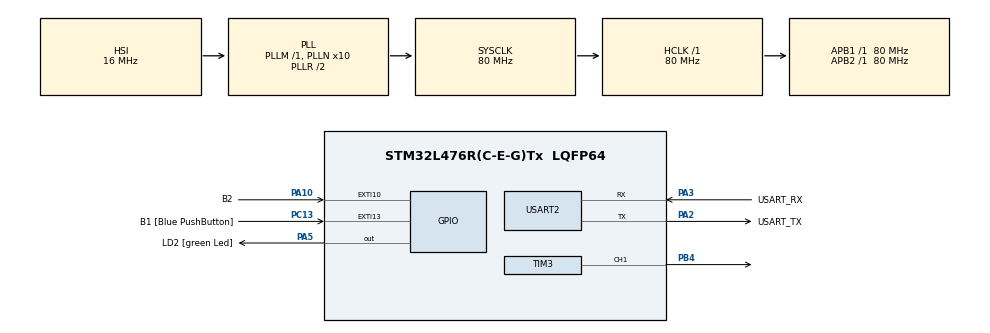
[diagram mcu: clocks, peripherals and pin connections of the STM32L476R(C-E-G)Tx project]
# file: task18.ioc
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Mcu.Family=STM32L4
Mcu.Name=STM32L476R(C-E-G)Tx
Mcu.Package=LQFP64
NVIC.EXTI15_10_IRQn=true\:0\:0\:false\:false\:true\:true\:true\:true
NVIC.PriorityGroup=NVIC_PRIORITYGROUP_4
NVIC.TIM3_IRQn=true\:0\:0\:false\:false\:true\:true\:true\:true
NVIC.TIM6_DAC_IRQn=true\:0\:0\:false\:false\:true\:true\:true\:true
PA10.GPIO_Label=B2
PA10.Signal=GPXTI10
PA13\ (JTMS-SWDIO).GPIO_Label=TMS
PA13\ (JTMS-SWDIO).Mode=Serial_Wire
PA13\ (JTMS-SWDIO).Signal=SYS_JTMS-SWDIO
PA14\ (JTCK-SWCLK).GPIO_Label=TCK
PA14\ (JTCK-SWCLK).Mode=Serial_Wire
PA14\ (JTCK-SWCLK).Signal=SYS_JTCK-SWCLK
PA2.GPIO_Label=USART_TX
PA2.GPIO_Mode=GPIO_MODE_AF_PP
PA2.GPIO_PuPd=GPIO_NOPULL
PA2.GPIO_Speed=GPIO_SPEED_FREQ_VERY_HIGH
PA2.Mode=Asynchronous
PA2.Signal=USART2_TX
PA3.GPIO_Label=USART_RX
PA3.GPIO_Mode=GPIO_MODE_AF_PP
PA3.GPIO_PuPd=GPIO_NOPULL
PA3.GPIO_Speed=GPIO_SPEED_FREQ_VERY_HIGH
PA3.Mode=Asynchronous
PA3.Signal=USART2_RX
PA5.GPIO_Label=LD2 [green Led]
PA5.GPIO_ModeDefaultOutputPP=GPIO_MODE_OUTPUT_PP
PA5.GPIO_PuPd=GPIO_NOPULL
PA5.GPIO_Speed=GPIO_SPEED_FREQ_LOW
PA5.Signal=GPIO_Output
PB3\ (JTDO-TRACESWO).GPIO_Label=SWO
PB3\ (JTDO-TRACESWO).Signal=SYS_JTDO-SWO
PB4\ (NJTRST).Signal=S_TIM3_CH1
PC13.GPIO_Label=B1 [Blue PushButton]
PC13.GPIO_ModeDefaultEXTI=GPIO_MODE_IT_FALLING
PC13.GPIO_PuPd=GPIO_NOPULL
PC13.Signal=GPXTI13
PC14-OSC32_IN\ (PC14).Mode=LSE-External-Oscillator
PC14-OSC32_IN\ (PC14).Signal=RCC_OSC32_IN
PC15-OSC32_OUT\ (PC15).Mode=LSE-External-Oscillator
PC15-OSC32_OUT\ (PC15).Signal=RCC_OSC32_OUT
PH0-OSC_IN\ (PH0).Signal=RCC_OSC_IN
PH1-OSC_OUT\ (PH1).Signal=RCC_OSC_OUT
ProjectManager.HeapSize=0x200
ProjectManager.StackSize=0x400
ProjectManager.TargetToolchain=STM32CubeIDE
RCC.ADCFreq_Value=64000000
RCC.AHBFreq_Value=80000000
RCC.APB1Freq_Value=80000000
RCC.APB1TimFreq_Value=80000000
RCC.APB2Freq_Value=80000000
RCC.APB2TimFreq_Value=80000000
RCC.CortexFreq_Value=80000000
RCC.HCLKFreq_Value=80000000
RCC.HSE_VALUE=8000000
RCC.HSI_VALUE=16000000
RCC.MSI_VALUE=4000000
RCC.PLLN=10
RCC.PLLSourceVirtual=RCC_PLLSOURCE_HSI
RCC.PREFETCH_ENABLE=1
RCC.SYSCLKFreq_VALUE=80000000
RCC.SYSCLKSource=RCC_SYSCLKSOURCE_PLLCLK
RCC.USBFreq_Value=64000000
RCC.VCOOutputFreq_Value=160000000
SH.S_TIM3_CH1.0=TIM3_CH1,PWM Generation1 CH1
TIM3.Channel-PWM\ Generation1\ CH1=TIM_CHANNEL_1
TIM3.Period=100
TIM3.Prescaler=800
TIM3.Pulse-PWM\ Generation1\ CH1=50
TIM6.Period=4999
TIM6.Prescaler=7999
USART2.VirtualMode-Asynchronous=VM_ASYNC
VP_TIM6_VS_ClockSourceINT.Mode=Enable_Timer
board=NUCLEO-L476RG

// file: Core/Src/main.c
/* USER CODE BEGIN Header */
/**
  ******************************************************************************
  * @file           : main.c
  * @brief          : Main program body
  ******************************************************************************
  * @attention
  *
  * Copyright (c) 2022 STMicroelectronics.
  * All rights reserved.
  *
  * This software is licensed under terms that can be found in the LICENSE file
  * in the root directory of this software component.
  * If no LICENSE file comes with this software, it is provided AS-IS.
  *
  ******************************************************************************
  */
/* USER CODE END Header */
#include "main.h"

/* USER CODE BEGIN Includes */
#include "button.h"
/* USER CODE END Includes */

 TIM_HandleTypeDef htim3;
TIM_HandleTypeDef htim6;

UART_HandleTypeDef huart2;

void SystemClock_Config(void);
static void MX_GPIO_Init(void);
static void MX_USART2_UART_Init(void);
static void MX_TIM3_Init(void);
static void MX_TIM6_Init(void);

/* USER CODE BEGIN 0 */
BUZZER bzr;
int freqArr[] = { 262, 277, 294, 311, 330, 349, 370, 392, 415, 440, 466, 494};
//2499 = 0.5 sec 4999=0.25sec
int ton[] = { 2499, 4999, 2499, 2499, 2499, 4999, 2499, 4999, 2499, 4999, 4999, 2499};

void HAL_GPIO_EXTI_Callback(uint16_t GPIO_Pin){
	static int flag = 1;
	if(flag == 1){
		//buzzerOn(&bzr);
		//uint8_t tmp;
		//tmp = GetTav(262);
		//buzzerOnFreq(&bzr,/*GetTav(262)*/390);
		flag =0;
		HAL_TIM_Base_Start_IT(&htim6);
		buzzerOn(&bzr);
	}
	else{
		HAL_TIM_Base_Stop_IT(&htim6);
		buzzerOff(&bzr);
		flag = 1;
	}

}

//start
void HAL_TIM_PeriodElapsedCallback(TIM_HandleTypeDef *htim){
	static int i = 0;
	if(htim == &htim6){
		buzzerOnFreq(&bzr,GetTav(freqArr[i]));
		__HAL_TIM_SET_AUTORELOAD(&htim6,ton[i]);
		i++;
		if(i>=12){
			i=0;			}
	}

}
//end cicale
void HAL_TIM_PWM_PulseFinishedCallback(TIM_HandleTypeDef *htim){

}
/* USER CODE END 0 */

int main(void)
{

  /* MCU Configuration--------------------------------------------------------*/

  /* Reset of all peripherals, Initializes the Flash interface and the Systick. */
  HAL_Init();

  /* Configure the system clock */
  SystemClock_Config();

  /* Initialize all configured peripherals */
  MX_GPIO_Init();
  MX_USART2_UART_Init();
  MX_TIM3_Init();
  MX_TIM6_Init();
  /* USER CODE BEGIN 2 */
  buzzerInit(&bzr);
  //HAL_NVIC_EnableIRQ(TIM3_IRQn);
  //HAL_TIM_Base_Init(&htim3);
  //HAL_TIM_Base_Start_IT(&htim3);

  /* USER CODE END 2 */

  /* Infinite loop */
  while (1)
  {

  }
}

void SystemClock_Config(void)
{
  RCC_OscInitTypeDef RCC_OscInitStruct = {0};
  RCC_ClkInitTypeDef RCC_ClkInitStruct = {0};

  /** Configure the main internal regulator output voltage
  */
  if (HAL_PWREx_ControlVoltageScaling(PWR_REGULATOR_VOLTAGE_SCALE1) != HAL_OK)
  {
    Error_Handler();
  }

  /** Initializes the RCC Oscillators according to the specified parameters
  * in the RCC_OscInitTypeDef structure.
  */
  RCC_OscInitStruct.OscillatorType = RCC_OSCILLATORTYPE_HSI;
  RCC_OscInitStruct.HSIState = RCC_HSI_ON;
  RCC_OscInitStruct.HSICalibrationValue = RCC_HSICALIBRATION_DEFAULT;
  RCC_OscInitStruct.PLL.PLLState = RCC_PLL_ON;
  RCC_OscInitStruct.PLL.PLLSource = RCC_PLLSOURCE_HSI;
  RCC_OscInitStruct.PLL.PLLM = 1;
  RCC_OscInitStruct.PLL.PLLN = 10;
  RCC_OscInitStruct.PLL.PLLP = RCC_PLLP_DIV7;
  RCC_OscInitStruct.PLL.PLLQ = RCC_PLLQ_DIV2;
  RCC_OscInitStruct.PLL.PLLR = RCC_PLLR_DIV2;
  if (HAL_RCC_OscConfig(&RCC_OscInitStruct) != HAL_OK)
  {
    Error_Handler();
  }

  /** Initializes the CPU, AHB and APB buses clocks
  */
  RCC_ClkInitStruct.ClockType = RCC_CLOCKTYPE_HCLK|RCC_CLOCKTYPE_SYSCLK
                              |RCC_CLOCKTYPE_PCLK1|RCC_CLOCKTYPE_PCLK2;
  RCC_ClkInitStruct.SYSCLKSource = RCC_SYSCLKSOURCE_PLLCLK;
  RCC_ClkInitStruct.AHBCLKDivider = RCC_SYSCLK_DIV1;
  RCC_ClkInitStruct.APB1CLKDivider = RCC_HCLK_DIV1;
  RCC_ClkInitStruct.APB2CLKDivider = RCC_HCLK_DIV1;

  if (HAL_RCC_ClockConfig(&RCC_ClkInitStruct, FLASH_LATENCY_4) != HAL_OK)
  {
    Error_Handler();
  }
}

static void MX_TIM3_Init(void)
{

  TIM_MasterConfigTypeDef sMasterConfig = {0};
  TIM_OC_InitTypeDef sConfigOC = {0};

  htim3.Instance = TIM3;
  htim3.Init.Prescaler = 800;
  htim3.Init.CounterMode = TIM_COUNTERMODE_UP;
  htim3.Init.Period = 100;
  htim3.Init.ClockDivision = TIM_CLOCKDIVISION_DIV1;
  htim3.Init.AutoReloadPreload = TIM_AUTORELOAD_PRELOAD_DISABLE;
  if (HAL_TIM_PWM_Init(&htim3) != HAL_OK)
  {
    Error_Handler();
  }
  sMasterConfig.MasterOutputTrigger = TIM_TRGO_RESET;
  sMasterConfig.MasterSlaveMode = TIM_MASTERSLAVEMODE_DISABLE;
  if (HAL_TIMEx_MasterConfigSynchronization(&htim3, &sMasterConfig) != HAL_OK)
  {
    Error_Handler();
  }
  sConfigOC.OCMode = TIM_OCMODE_PWM1;
  sConfigOC.Pulse = 50;
  sConfigOC.OCPolarity = TIM_OCPOLARITY_HIGH;
  sConfigOC.OCFastMode = TIM_OCFAST_DISABLE;
  if (HAL_TIM_PWM_ConfigChannel(&htim3, &sConfigOC, TIM_CHANNEL_1) != HAL_OK)
  {
    Error_Handler();
  }
  HAL_TIM_MspPostInit(&htim3);

}

static void MX_TIM6_Init(void)
{

  TIM_MasterConfigTypeDef sMasterConfig = {0};

  htim6.Instance = TIM6;
  htim6.Init.Prescaler = 7999;
  htim6.Init.CounterMode = TIM_COUNTERMODE_UP;
  htim6.Init.Period = 4999;
  htim6.Init.AutoReloadPreload = TIM_AUTORELOAD_PRELOAD_DISABLE;
  if (HAL_TIM_Base_Init(&htim6) != HAL_OK)
  {
    Error_Handler();
  }
  sMasterConfig.MasterOutputTrigger = TIM_TRGO_RESET;
  sMasterConfig.MasterSlaveMode = TIM_MASTERSLAVEMODE_DISABLE;
  if (HAL_TIMEx_MasterConfigSynchronization(&htim6, &sMasterConfig) != HAL_OK)
  {
    Error_Handler();
  }

}

static void MX_USART2_UART_Init(void)
{

  huart2.Instance = USART2;
  huart2.Init.BaudRate = 115200;
  huart2.Init.WordLength = UART_WORDLENGTH_8B;
  huart2.Init.StopBits = UART_STOPBITS_1;
  huart2.Init.Parity = UART_PARITY_NONE;
  huart2.Init.Mode = UART_MODE_TX_RX;
  huart2.Init.HwFlowCtl = UART_HWCONTROL_NONE;
  huart2.Init.OverSampling = UART_OVERSAMPLING_16;
  huart2.Init.OneBitSampling = UART_ONE_BIT_SAMPLE_DISABLE;
  huart2.AdvancedInit.AdvFeatureInit = UART_ADVFEATURE_NO_INIT;
  if (HAL_UART_Init(&huart2) != HAL_OK)
  {
    Error_Handler();
  }

}

static void MX_GPIO_Init(void)
{
  GPIO_InitTypeDef GPIO_InitStruct = {0};

  /* GPIO Ports Clock Enable */
  __HAL_RCC_GPIOC_CLK_ENABLE();
  __HAL_RCC_GPIOH_CLK_ENABLE();
  __HAL_RCC_GPIOA_CLK_ENABLE();
  __HAL_RCC_GPIOB_CLK_ENABLE();

  /*Configure GPIO pin Output Level */
  HAL_GPIO_WritePin(LD2_GPIO_Port, LD2_Pin, GPIO_PIN_RESET);

  /*Configure GPIO pin : B1_Pin */
  GPIO_InitStruct.Pin = B1_Pin;
  GPIO_InitStruct.Mode = GPIO_MODE_IT_FALLING;
  GPIO_InitStruct.Pull = GPIO_NOPULL;
  HAL_GPIO_Init(B1_GPIO_Port, &GPIO_InitStruct);

  /*Configure GPIO pin : LD2_Pin */
  GPIO_InitStruct.Pin = LD2_Pin;
  GPIO_InitStruct.Mode = GPIO_MODE_OUTPUT_PP;
  GPIO_InitStruct.Pull = GPIO_NOPULL;
  GPIO_InitStruct.Speed = GPIO_SPEED_FREQ_LOW;
  HAL_GPIO_Init(LD2_GPIO_Port, &GPIO_InitStruct);

  /*Configure GPIO pin : B2_Pin */
  GPIO_InitStruct.Pin = B2_Pin;
  GPIO_InitStruct.Mode = GPIO_MODE_IT_RISING;
  GPIO_InitStruct.Pull = GPIO_NOPULL;
  HAL_GPIO_Init(B2_GPIO_Port, &GPIO_InitStruct);

  /* EXTI interrupt init*/
  HAL_NVIC_SetPriority(EXTI15_10_IRQn, 0, 0);
  HAL_NVIC_EnableIRQ(EXTI15_10_IRQn);

}

void Error_Handler(void)
{
  __disable_irq();
  while (1)
  {
  }
}
